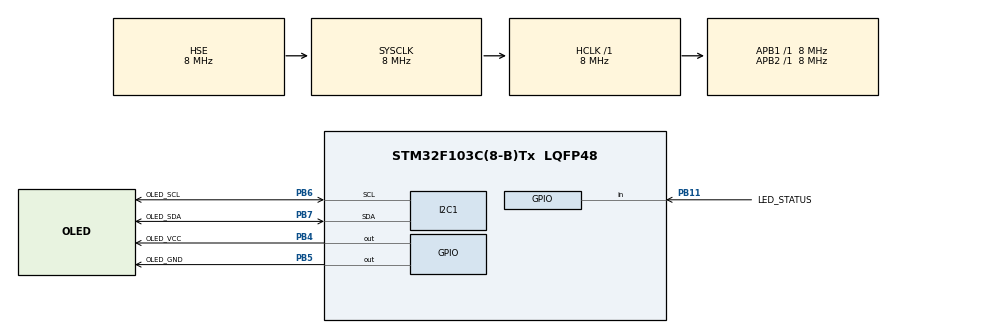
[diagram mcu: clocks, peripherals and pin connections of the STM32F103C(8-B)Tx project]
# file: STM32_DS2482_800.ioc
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I2C1.I2C_Mode=I2C_Fast
Mcu.Family=STM32F1
Mcu.Name=STM32F103C(8-B)Tx
Mcu.Package=LQFP48
NVIC.PriorityGroup=NVIC_PRIORITYGROUP_4
PA13.Mode=Serial_Wire
PA13.Signal=SYS_JTMS-SWDIO
PA14.Mode=Serial_Wire
PA14.Signal=SYS_JTCK-SWCLK
PB11.GPIO_Label=LED_STATUS
PB11.GPIO_PuPd=GPIO_PULLDOWN
PB11.Signal=GPIO_Input
PB4.GPIO_Label=OLED_VCC
PB4.PinState=GPIO_PIN_SET
PB4.Signal=GPIO_Output
PB5.GPIO_Label=OLED_GND
PB5.Signal=GPIO_Output
PB6.GPIO_Label=OLED_SCL
PB6.Mode=I2C
PB6.Signal=I2C1_SCL
PB7.GPIO_Label=OLED_SDA
PB7.Mode=I2C
PB7.Signal=I2C1_SDA
PC14-OSC32_IN.Mode=LSE-External-Oscillator
PC14-OSC32_IN.Signal=RCC_OSC32_IN
PC15-OSC32_OUT.Mode=LSE-External-Oscillator
PC15-OSC32_OUT.Signal=RCC_OSC32_OUT
PD0-OSC_IN.Mode=HSE-External-Oscillator
PD0-OSC_IN.Signal=RCC_OSC_IN
PD1-OSC_OUT.Mode=HSE-External-Oscillator
PD1-OSC_OUT.Signal=RCC_OSC_OUT
ProjectManager.HeapSize=0x200
ProjectManager.StackSize=0x400
ProjectManager.TargetToolchain=TrueSTUDIO
RCC.AHBFreq_Value=8000000
RCC.APB1Freq_Value=8000000
RCC.APB1TimFreq_Value=8000000
RCC.APB2Freq_Value=8000000
RCC.APB2TimFreq_Value=8000000
RCC.HCLKFreq_Value=8000000
RCC.PLLSourceVirtual=RCC_PLLSOURCE_HSE
RCC.RTCClockSelection=RCC_RTCCLKSOURCE_LSE
RCC.SYSCLKFreq_VALUE=8000000
RCC.SYSCLKSource=RCC_SYSCLKSOURCE_HSE
RCC.USBFreq_Value=16000000
RTC.Format=RTC_FORMAT_BIN
VP_RTC_VS_RTC_Activate.Mode=RTC_Enabled
VP_RTC_VS_RTC_Calendar.Mode=RTC_Calendar
board=StopWatch

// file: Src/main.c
/**
  ******************************************************************************
  * File Name          : main.c
  * Description        : Main program body
  ******************************************************************************
  ** This notice applies to any and all portions of this file
  * that are not between comment pairs USER CODE BEGIN and
  * USER CODE END. Other portions of this file, whether
  * inserted by the user or by software development tools
  * are owned by their respective copyright owners.
  *
  * COPYRIGHT(c) 2018 STMicroelectronics
  *
  * Redistribution and use in source and binary forms, with or without modification,
  * are permitted provided that the following conditions are met:
  *   1. Redistributions of source code must retain the above copyright notice,
  *      this list of conditions and the following disclaimer.
  *   2. Redistributions in binary form must reproduce the above copyright notice,
  *      this list of conditions and the following disclaimer in the documentation
  *      and/or other materials provided with the distribution.
  *   3. Neither the name of STMicroelectronics nor the names of its contributors
  *      may be used to endorse or promote products derived from this software
  *      without specific prior written permission.
  *
  * THIS SOFTWARE IS PROVIDED BY THE COPYRIGHT HOLDERS AND CONTRIBUTORS "AS IS"
  * AND ANY EXPRESS OR IMPLIED WARRANTIES, INCLUDING, BUT NOT LIMITED TO, THE
  * IMPLIED WARRANTIES OF MERCHANTABILITY AND FITNESS FOR A PARTICULAR PURPOSE ARE
  * DISCLAIMED. IN NO EVENT SHALL THE COPYRIGHT HOLDER OR CONTRIBUTORS BE LIABLE
  * FOR ANY DIRECT, INDIRECT, INCIDENTAL, SPECIAL, EXEMPLARY, OR CONSEQUENTIAL
  * DAMAGES (INCLUDING, BUT NOT LIMITED TO, PROCUREMENT OF SUBSTITUTE GOODS OR
  * SERVICES; LOSS OF USE, DATA, OR PROFITS; OR BUSINESS INTERRUPTION) HOWEVER
  * CAUSED AND ON ANY THEORY OF LIABILITY, WHETHER IN CONTRACT, STRICT LIABILITY,
  * OR TORT (INCLUDING NEGLIGENCE OR OTHERWISE) ARISING IN ANY WAY OUT OF THE USE
  * OF THIS SOFTWARE, EVEN IF ADVISED OF THE POSSIBILITY OF SUCH DAMAGE.
  *
  ******************************************************************************
  */

#include "main.h"
#include "stm32f1xx_hal.h"

/* USER CODE BEGIN Includes */
#include"ssd1306.h"
#include "fonts.h"
#include "stdlib.h"
#include "string.h"

/* USER CODE END Includes */

I2C_HandleTypeDef hi2c1;

RTC_HandleTypeDef hrtc;

/* USER CODE BEGIN PV */
/* Private variables ---------------------------------------------------------*/
RTC_TimeTypeDef RTC_time;

uint16_t discharge_time_seconds, discharge_time_minutes, discharge_time_hours;
uint16_t clock_time_seconds_prev;
uint16_t clock_time_seconds, clock_time_minutes, clock_time_hours;

char seconds_s[5], minutes_s[5], hours_s[5];

//FUNCTION COMMANDS

/*********************************************/
//Device Reset (Parameter 0 byte)
#define  DEVICE_RESET_CMD               (0xF0)
/*********************************************/

/*********************************************/
//Set Read Pointer cammand
#define  SET_READ_POINTER_CMD           (0xE1)

//Set Read Pointer valid Command Parameter
#define  STATUS_REGISTER_PTR            (0xF0)
#define  READ_DATA_REGISTER_PTR         (0xE1)
#define  CHANNEL_SELECTION_REGISTER_PTR (0xD2)
#define  CONFIGURATION_REGISTER_PTR     (0xC3)
/*********************************************/

/*********************************************/
//Write Configuration (Parameter 1 byte)
#define  WRITE_CONFIGURATION_CMD        (0xD2)
/*********************************************/

/*********************************************/
//Channel Select (Parameter 1 byte)
#define  CHANNEL_SELECT_CMD             (0XC3)

#define  CHANNEL_0             (0XF0)
#define  CHANNEL_1             (0XE1)
#define  CHANNEL_2             (0XD2)
#define  CHANNEL_3             (0XC3)
#define  CHANNEL_4             (0XB4)
#define  CHANNEL_5             (0XA5)
#define  CHANNEL_6             (0X96)
#define  CHANNEL_7             (0X87)

#define  CHANNEL_0_RETURN           (0XB8)
#define  CHANNEL_1_RETURN           (0XB1)
#define  CHANNEL_2_RETURN           (0XAA)
#define  CHANNEL_3_RETURN           (0XA3)
#define  CHANNEL_4_RETURN           (0X9C)
#define  CHANNEL_5_RETURN           (0X95)
#define  CHANNEL_6_RETURN           (0X8E)
#define  CHANNEL_7_RETURN           (0X87)
/*********************************************/

//1-Wire Reset (Parameter 0 byte)
#define  OW_RESET_CMD               (0XB4)

//1-Wire Single Bit (Parameter 1 byte (only MSB))
#define  OW_SINGLE_BIT_CMD          (0X87)

//1-Wire Write Byte (Parameter 1 byte)
#define  OW_WRITE_BYTE_CMD          (0XA5)

//1-Wire Read Byte (Parameter 0 byte)
#define  OW_READ_BYTE_CMD           (0X96)

//1-Wire Single Bit (Parameter 1 byte (only MSB))
//1-Wire Triplet
#define  OW_TRIPLET_CMD             (0X78)

#define convert_T		0x44
#define read_scratchpad         0xBE
#define write_scratchpad	0x4E
#define copy_scratchpad         0x48
#define recall_E2		0xB8
#define read_power_supply	0xB4
#define skip_ROM		0xCC

#define resolution		12

/* USER CODE END PV */

void SystemClock_Config(void);
static void MX_GPIO_Init(void);
static void MX_I2C1_Init(void);
static void MX_RTC_Init(void);

/* USER CODE BEGIN PFP */
/* Private function prototypes -----------------------------------------------*/

/* USER CODE END PFP */

/* USER CODE BEGIN 0 */
HAL_StatusTypeDef DS2482_Write_Two_Byte(uint8_t cmd,uint8_t param)
    {
    uint8_t CMD_DS[2] = {cmd,param};
    return HAL_I2C_Master_Transmit(&hi2c1, 0x18<<1, CMD_DS, 2, 100);
    }

HAL_StatusTypeDef DS2482_Write_One_Byte(uint8_t cmd)
    {
    uint8_t CMD_DS[1] = {cmd};
    return HAL_I2C_Master_Transmit(&hi2c1, 0x18<<1, CMD_DS, 1, 100);
    }

HAL_StatusTypeDef DS2482_Read_Byte(uint8_t* data)
    {
    return HAL_I2C_Master_Receive(&hi2c1, 0x18<<1, data, 1, 100);
    }

void DS2482_Test()
    {
    DS2482_Write_One_Byte(DEVICE_RESET_CMD);
    DS2482_Write_One_Byte(OW_RESET_CMD);
    DS2482_Write_One_Byte(OW_READ_BYTE_CMD);
    DS2482_Write_Two_Byte(SET_READ_POINTER_CMD,STATUS_REGISTER_PTR);
    DS2482_Write_Two_Byte(SET_READ_POINTER_CMD,READ_DATA_REGISTER_PTR);
    DS2482_Write_Two_Byte(SET_READ_POINTER_CMD,CHANNEL_SELECTION_REGISTER_PTR);
    DS2482_Write_Two_Byte(SET_READ_POINTER_CMD,CONFIGURATION_REGISTER_PTR);

    DS2482_Write_Two_Byte(WRITE_CONFIGURATION_CMD,0xF0);

    DS2482_Write_Two_Byte(CHANNEL_SELECT_CMD,CHANNEL_0);
    DS2482_Write_Two_Byte(CHANNEL_SELECT_CMD,CHANNEL_1);
    DS2482_Write_Two_Byte(CHANNEL_SELECT_CMD,CHANNEL_2);
    DS2482_Write_Two_Byte(CHANNEL_SELECT_CMD,CHANNEL_3);
    DS2482_Write_Two_Byte(CHANNEL_SELECT_CMD,CHANNEL_4);
    DS2482_Write_Two_Byte(CHANNEL_SELECT_CMD,CHANNEL_5);
    DS2482_Write_Two_Byte(CHANNEL_SELECT_CMD,CHANNEL_6);
    DS2482_Write_Two_Byte(CHANNEL_SELECT_CMD,CHANNEL_7);

    DS2482_Write_Two_Byte(OW_SINGLE_BIT_CMD,0x80);

    DS2482_Write_Two_Byte(OW_WRITE_BYTE_CMD,0xA5);

    DS2482_Write_Two_Byte(OW_TRIPLET_CMD,0x80);

    uint8_t temp;

    DS2482_Write_Two_Byte(CHANNEL_SELECT_CMD,CHANNEL_1);
    DS2482_Write_Two_Byte(SET_READ_POINTER_CMD,CONFIGURATION_REGISTER_PTR);
    DS2482_Read_Byte(&temp);
if (temp == 0xF0)
    {
	ssd1306_Fill(Black);
	ssd1306_SetCursor(0, 0);
	ssd1306_WriteString("OK", Font_11x18, White);
	ssd1306_UpdateScreen();
    }
else
    {
	ssd1306_Fill(Black);
	ssd1306_SetCursor(0, 0);
	ssd1306_WriteString("fail", Font_11x18, White);
	ssd1306_UpdateScreen();
    }

    }

/* USER CODE END 0 */

int main(void)
{

  /* MCU Configuration----------------------------------------------------------*/

  /* Reset of all peripherals, Initializes the Flash interface and the Systick. */
  HAL_Init();

  /* Configure the system clock */
  SystemClock_Config();

  /* Initialize all configured peripherals */
  MX_GPIO_Init();
  MX_I2C1_Init();
  MX_RTC_Init();

  /* USER CODE BEGIN 2 */
  ssd1306_Init();

  /* USER CODE END 2 */

  /* Infinite loop */
	while (1) {

  /* USER CODE BEGIN 3 */

	    uint8_t temp1;
	    uint8_t temp2;
	    float temp;
	    char temp_s[10];

	    DS2482_Write_Two_Byte(CHANNEL_SELECT_CMD,CHANNEL_0);
	    HAL_Delay(1);

	    DS2482_Write_One_Byte(OW_RESET_CMD);
	    HAL_Delay(1);
	    DS2482_Write_Two_Byte(OW_WRITE_BYTE_CMD,skip_ROM);
	    HAL_Delay(1);
	    DS2482_Write_Two_Byte(OW_WRITE_BYTE_CMD,convert_T);
	    HAL_Delay(1000);

	    DS2482_Write_One_Byte(OW_RESET_CMD);
	    HAL_Delay(1);
	    DS2482_Write_Two_Byte(OW_WRITE_BYTE_CMD,skip_ROM);
	    HAL_Delay(1);
	    DS2482_Write_Two_Byte(OW_WRITE_BYTE_CMD,read_scratchpad);
	    HAL_Delay(1);
	    DS2482_Write_One_Byte(OW_READ_BYTE_CMD);
	    HAL_Delay(1);
	    DS2482_Write_Two_Byte(SET_READ_POINTER_CMD,READ_DATA_REGISTER_PTR);
	    DS2482_Read_Byte(&temp1);
	    DS2482_Write_One_Byte(OW_READ_BYTE_CMD);
	    HAL_Delay(1);
	    DS2482_Write_Two_Byte(SET_READ_POINTER_CMD,READ_DATA_REGISTER_PTR);
	    DS2482_Read_Byte(&temp2);

	    temp = temp2;
	    temp *= 256.0;
	    temp += temp1;
	    temp *= 0.0625;

	    ssd1306_SetCursor(0, 0);
	    sprintf(temp_s,"%0.2f" , temp);
	    ssd1306_WriteString(temp_s, Font_11x18, White);
	    ssd1306_UpdateScreen();

	}
  /* USER CODE END 3 */

}

/** System Clock Configuration
*/
void SystemClock_Config(void)
{

  RCC_OscInitTypeDef RCC_OscInitStruct;
  RCC_ClkInitTypeDef RCC_ClkInitStruct;
  RCC_PeriphCLKInitTypeDef PeriphClkInit;

    /**Initializes the CPU, AHB and APB busses clocks
    */
  RCC_OscInitStruct.OscillatorType = RCC_OSCILLATORTYPE_HSE|RCC_OSCILLATORTYPE_LSE;
  RCC_OscInitStruct.HSEState = RCC_HSE_ON;
  RCC_OscInitStruct.LSEState = RCC_LSE_ON;
  RCC_OscInitStruct.PLL.PLLState = RCC_PLL_NONE;
  if (HAL_RCC_OscConfig(&RCC_OscInitStruct) != HAL_OK)
  {
    _Error_Handler(__FILE__, __LINE__);
  }

    /**Initializes the CPU, AHB and APB busses clocks
    */
  RCC_ClkInitStruct.ClockType = RCC_CLOCKTYPE_HCLK|RCC_CLOCKTYPE_SYSCLK
                              |RCC_CLOCKTYPE_PCLK1|RCC_CLOCKTYPE_PCLK2;
  RCC_ClkInitStruct.SYSCLKSource = RCC_SYSCLKSOURCE_HSE;
  RCC_ClkInitStruct.AHBCLKDivider = RCC_SYSCLK_DIV1;
  RCC_ClkInitStruct.APB1CLKDivider = RCC_HCLK_DIV1;
  RCC_ClkInitStruct.APB2CLKDivider = RCC_HCLK_DIV1;

  if (HAL_RCC_ClockConfig(&RCC_ClkInitStruct, FLASH_LATENCY_0) != HAL_OK)
  {
    _Error_Handler(__FILE__, __LINE__);
  }

  PeriphClkInit.PeriphClockSelection = RCC_PERIPHCLK_RTC;
  PeriphClkInit.RTCClockSelection = RCC_RTCCLKSOURCE_LSE;
  if (HAL_RCCEx_PeriphCLKConfig(&PeriphClkInit) != HAL_OK)
  {
    _Error_Handler(__FILE__, __LINE__);
  }

    /**Configure the Systick interrupt time
    */
  HAL_SYSTICK_Config(HAL_RCC_GetHCLKFreq()/1000);

    /**Configure the Systick
    */
  HAL_SYSTICK_CLKSourceConfig(SYSTICK_CLKSOURCE_HCLK);

  /* SysTick_IRQn interrupt configuration */
  HAL_NVIC_SetPriority(SysTick_IRQn, 0, 0);
}

/* I2C1 init function */

static void MX_I2C1_Init(void)
{

  hi2c1.Instance = I2C1;
  hi2c1.Init.ClockSpeed = 400000;
  hi2c1.Init.DutyCycle = I2C_DUTYCYCLE_2;
  hi2c1.Init.OwnAddress1 = 0;
  hi2c1.Init.AddressingMode = I2C_ADDRESSINGMODE_7BIT;
  hi2c1.Init.DualAddressMode = I2C_DUALADDRESS_DISABLE;
  hi2c1.Init.OwnAddress2 = 0;
  hi2c1.Init.GeneralCallMode = I2C_GENERALCALL_DISABLE;
  hi2c1.Init.NoStretchMode = I2C_NOSTRETCH_DISABLE;
  if (HAL_I2C_Init(&hi2c1) != HAL_OK)
  {
    _Error_Handler(__FILE__, __LINE__);
  }

}

/* RTC init function */
static void MX_RTC_Init(void)
{

  RTC_TimeTypeDef sTime;
  RTC_DateTypeDef DateToUpdate;

    /**Initialize RTC Only
    */
  hrtc.Instance = RTC;
  hrtc.Init.AsynchPrediv = RTC_AUTO_1_SECOND;
  hrtc.Init.OutPut = RTC_OUTPUTSOURCE_ALARM;
  if (HAL_RTC_Init(&hrtc) != HAL_OK)
  {
    _Error_Handler(__FILE__, __LINE__);
  }

    /**Initialize RTC and set the Time and Date
    */
  if(HAL_RTCEx_BKUPRead(&hrtc, RTC_BKP_DR1) != 0x32F2){
  sTime.Hours = 4;
  sTime.Minutes = 51;
  sTime.Seconds = 0;

  if (HAL_RTC_SetTime(&hrtc, &sTime, RTC_FORMAT_BIN) != HAL_OK)
  {
    _Error_Handler(__FILE__, __LINE__);
  }

  DateToUpdate.WeekDay = RTC_WEEKDAY_MONDAY;
  DateToUpdate.Month = RTC_MONTH_MARCH;
  DateToUpdate.Date = 5;
  DateToUpdate.Year = 18;

  if (HAL_RTC_SetDate(&hrtc, &DateToUpdate, RTC_FORMAT_BIN) != HAL_OK)
  {
    _Error_Handler(__FILE__, __LINE__);
  }

    HAL_RTCEx_BKUPWrite(&hrtc,RTC_BKP_DR1,0x32F2);
  }

}

/** Configure pins as
        * Analog
        * Input
        * Output
        * EVENT_OUT
        * EXTI
*/
static void MX_GPIO_Init(void)
{

  GPIO_InitTypeDef GPIO_InitStruct;

  /* GPIO Ports Clock Enable */
  __HAL_RCC_GPIOC_CLK_ENABLE();
  __HAL_RCC_GPIOD_CLK_ENABLE();
  __HAL_RCC_GPIOB_CLK_ENABLE();
  __HAL_RCC_GPIOA_CLK_ENABLE();

  /*Configure GPIO pin Output Level */
  HAL_GPIO_WritePin(OLED_VCC_GPIO_Port, OLED_VCC_Pin, GPIO_PIN_SET);

  /*Configure GPIO pin Output Level */
  HAL_GPIO_WritePin(OLED_GND_GPIO_Port, OLED_GND_Pin, GPIO_PIN_RESET);

  /*Configure GPIO pin : LED_STATUS_Pin */
  GPIO_InitStruct.Pin = LED_STATUS_Pin;
  GPIO_InitStruct.Mode = GPIO_MODE_INPUT;
  GPIO_InitStruct.Pull = GPIO_PULLDOWN;
  HAL_GPIO_Init(LED_STATUS_GPIO_Port, &GPIO_InitStruct);

  /*Configure GPIO pins : OLED_VCC_Pin OLED_GND_Pin */
  GPIO_InitStruct.Pin = OLED_VCC_Pin|OLED_GND_Pin;
  GPIO_InitStruct.Mode = GPIO_MODE_OUTPUT_PP;
  GPIO_InitStruct.Speed = GPIO_SPEED_FREQ_LOW;
  HAL_GPIO_Init(GPIOB, &GPIO_InitStruct);

}

void _Error_Handler(char * file, int line)
{
	while (1) {
	}
}

/************************ (C) COPYRIGHT STMicroelectronics *****END OF FILE****/
